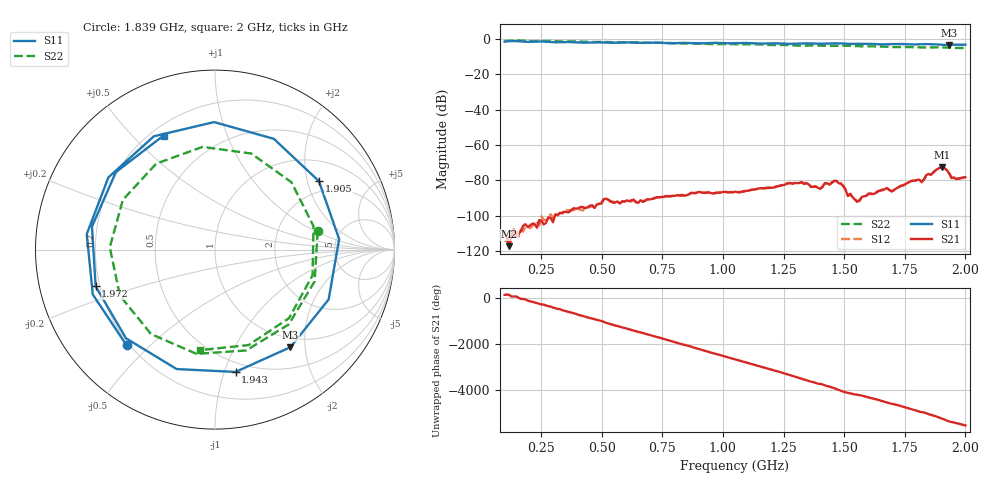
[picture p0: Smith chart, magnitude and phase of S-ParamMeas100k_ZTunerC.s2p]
!Keysight Technologies,N5242B,MY48420967,A.15.65.19
!Date: Monday, December 19, 2022 11:39:51
!Correction: S11(C  2-Port  )
!S21(C  2-Port  )
!S12(C  2-Port  )
!S22(C  2-Port  )
!S2P File: Measurements: S11, S21, S12, S22:
# Hz S  dB  R 50
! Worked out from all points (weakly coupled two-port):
!   201 points, 100 MHz to 2 GHz, reference 50 ohm
!   highest |S21| = -72.63 dB at 1.905 GHz (marker M1); lowest = -117.4 dB at 119 MHz (marker M2)
!   lowest |S11| = -3.3 dB at 1.933 GHz (marker M3), VSWR 5.39, Z = 41.7 - j86 ohm
!   |S11| at or under -10 dB: nowhere
!   |S22| runs from -5.0 to -0.7 dB; largest |S21 - S12| = 4.5e-06
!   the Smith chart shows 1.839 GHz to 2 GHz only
!   S11 on the Smith chart (normalised r, x): 1.839 GHz: 0.19, -0.42; 1.905 GHz: 1.61, +2.36; 1.943 GHz: 0.42, -1.09; 1.972 GHz: 0.18, -0.15; 2 GHz: 0.25, +0.62
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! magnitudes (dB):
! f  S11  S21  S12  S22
! 100 MHz  -1.4  -109.0  -114.2  -1.0
! 119 MHz  -1.1  -117.4  -110.8  -0.9
! 423 MHz  -2.0  -95.2  -97.1  -1.4
! 736.5 MHz  -2.0  -89.7  -89.7  -2.0
! 1.05 GHz  -2.3  -86.5  -86.7  -2.9
! 1.373 GHz  -2.4  -83.7  -83.5  -3.5
! 1.687 GHz  -2.9  -85.5  -85.6  -4.4
! 1.819 GHz  -2.9  -80.9  -81.1  -4.7
! 1.829 GHz  -2.8  -79.6  -79.6  -4.7
! 1.839 GHz  -2.8  -77.1  -77.2  -4.7
! 1.848 GHz  -2.8  -76.5  -76.5  -4.7
! 1.857 GHz  -2.9  -76.8  -76.9  -4.7
! 1.877 GHz  -2.9  -74.4  -74.3  -4.6
! 1.895 GHz  -3.1  -72.8  -72.9  -4.6
! 1.905 GHz  -3.2  -72.6  -72.6  -4.6
! 1.924 GHz  -3.2  -74.3  -74.3  -4.7
! 1.933 GHz  -3.3  -76.2  -76.1  -4.8
! 1.943 GHz  -3.2  -78.7  -78.7  -4.9
! 1.952 GHz  -3.1  -78.4  -78.6  -4.9
! 1.962 GHz  -3.1  -79.3  -79.5  -5.0
! 1.972 GHz  -3.2  -79.0  -79.0  -5.0
! 2 GHz  -3.1  -78.2  -78.1  -4.9
